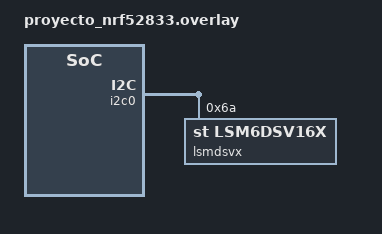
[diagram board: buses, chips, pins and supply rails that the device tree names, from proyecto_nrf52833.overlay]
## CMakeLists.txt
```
# SPDX-License-Identifier: Apache-2.0

cmake_minimum_required(VERSION 3.20.0)

find_package(Zephyr REQUIRED HINTS $ENV{ZEPHYR_BASE})
project(Pruebas_agosto)

target_sources(app PRIVATE src/main.c)
```

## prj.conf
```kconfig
CONFIG_GPIO=y
CONFIG_I2C=y
CONFIG_I2C_NRFX=y
CONFIG_SENSOR=y
#CONFIG_FLASH=y
#CONFIG_FLASH_PAGE_LAYOUT=y
CONFIG_LSM6DSV16X=y
CONFIG_CBPRINTF_FP_SUPPORT=y
#DT_HAS_ST_LSM6DSV16X_ENABLED=y
```

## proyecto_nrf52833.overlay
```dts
// To get started, press Ctrl+Space to bring up the completion menu and view the available nodes.

// You can also use the buttons in the sidebar to perform actions on nodes.
// Actions currently available include:

// * Enabling / disabling the node
// * Adding the bus to a bus
// * Removing the node
// * Connecting ADC channels

// For more help, browse the DeviceTree documentation at https://docs.zephyrproject.org/latest/guides/dts/index.html
// You can also visit the nRF DeviceTree extension documentation at https://docs.nordicsemi.com/bundle/nrf-connect-vscode/page/guides/ncs_configure_app.html#devicetree-support-in-the-extension

// Consultar: https://docs.zephyrproject.org/latest/build/dts/api/bindings/sensor/st%2Clsm6dsv16x-i2c.html
&i2c0 {
    status = "okay";
    lsmdsvx: lsmdsvx@6A {  // 6A, D4, D5, D7, 0F, 70, 15, 35, 6B, 1A
        compatible = "st,lsm6dsv16x";
        reg = <0x6A>; 
        label = "lsmdsvx";
        // Propiedades para el sensor
        //irq-gpios = <&gpio0 2 GPIO_ACTIVE_HIGH>; // pin GPIO usado para las interrupciones DRDY
        //drdy-pin = <1>; // pin INT1 para la señal DRDY
        //accel-range = <1>; //  rango del acelerómetro UTIL
        //accel-odr = <0x01>; // frecuencia de muestreo del acelerómetro UTIL
        //gyro-range = <1>; // rango del giroscopio UTIL
        //gyro-odr = <0x02>; // frecuencia de muestreo del giroscopio UTIL
        //drdy-pulsed; // modo de pulso para la señal DRDY
    };
    /*sensor: sensor@4a{
        compatible = "i2c-device";
        status = "okay";
        reg = < 0x4a >;
    };*/
};
```

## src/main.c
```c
// LSM6DSV16X date lecture code


#include <zephyr/types.h>
#include <zephyr/kernel.h>
#include <zephyr/drivers/i2c.h>
#include <zephyr/sys/printk.h>
#include <zephyr/device.h>
#include <stdlib.h>
#include <zephyr/devicetree.h>
#include <zephyr/drivers/sensor.h>
#include <zephyr/drivers/gpio.h>

// NO DRIVER VERSION

// I2C Device Address 8 bit format  if SA0=0 -> D5 if SA0=1 -> D7 
#define LSM6DSV16X_I2C_ADD_L    0xD5U
#define LSM6DSV16X_I2C_ADD_H    0xD7U
#define LSM6DSV16X_I2C_ADDR 	0x6A
#define LSM6DSV16X_ID           0x70U // who am i

// LOW ADDRESSES Gyros and Accel
#define OUTX_L_G 				0x22 
#define OUTY_L_G 				0x24
#define OUTZ_L_G 				0x26
#define OUTX_L_A 				0x28
#define OUTY_L_A 				0x2A
#define OUTZ_L_A 				0x2C

#define CTRL_ACC				0x10
#define CTRL_GYR				0x11

#define CONF_CTRL_ACC			0x72
#define CONF_CTRL_GYR			0x52


// Operation

#define I2C_NODE DT_NODELABEL(i2c0)
static const struct device *i2c_dev = DEVICE_DT_GET(I2C_NODE);


static uint8_t i2c_buffer[2];  
static uint8_t i2c_write_buffer[4]; // writting buffer 
static uint8_t i2c_read_buffer[2];  // lectures buffer 
static uint8_t i2c_read_buffer2[2]; 
static uint8_t i2c_read_buffer3[2]; 

int main(void) 
{
	int err;

	if (!i2c_dev) {
        printk("I2C: Device not found.\n");
        return;
    }

	//gpio_pin_set_dt(&enable_i2c, 1); // alto
	int i = 0;
	while (true)
	{
		i2c_buffer[0] = 0x0F;
		 
		
			// READ DEVICE ID
		i2c_buffer[0] = 0x0F;
		err = i2c_read(i2c_dev, i2c_buffer, 2, 0x6A); 
		if (err < 0){printk(" Sin enlace ");break;} 

			// ACC CONFIG
		i2c_write_buffer[0] = CTRL_ACC;
		i2c_write_buffer[1] = CONF_CTRL_ACC;
        err = i2c_write(i2c_dev, i2c_write_buffer, 2, 0x0F); 
        if (err < 0) {printk("CON ENLACE !! \n");return;}
		else {printk("Acc config success \n");}

			// GYR CONFIG
		i2c_write_buffer[0] = CTRL_GYR;
		i2c_write_buffer[1] = CONF_CTRL_GYR;
        err = i2c_write(i2c_dev, i2c_write_buffer, 2, 0x6B);
        if (err < 0) {printk("Error gyr config \n");return;}
		else {printk("Config success \n");}

			// ACC READING
		i2c_write_buffer[0] = OUTX_L_A;
        err = i2c_write_read(i2c_dev, LSM6DSV16X_I2C_ADDR,i2c_write_buffer, 1, i2c_read_buffer, 2);
            
		i2c_write_buffer[0] = OUTY_L_A;
        err = i2c_write_read(i2c_dev, LSM6DSV16X_I2C_ADDR,i2c_write_buffer, 1, i2c_read_buffer2, 2);

		i2c_write_buffer[0] = OUTZ_L_A;
        err = i2c_write_read(i2c_dev, LSM6DSV16X_I2C_ADDR,i2c_write_buffer, 1, i2c_read_buffer3, 2);
        if (err < 0) {printk("Accel reading error \n");return;}
		else {0;}

		printk("\n Accel raw (hex):   0x%02X; 0x%02X; 0x%02X <-----\n", i2c_read_buffer3[0], i2c_read_buffer2[0], i2c_read_buffer[0]);

		float accel_x = sensor_value_to_double(i2c_read_buffer[0]);
		float accel_y = sensor_value_to_double(i2c_read_buffer2[0]);
		float accel_z = sensor_value_to_double(i2c_read_buffer3[0]);

			// GYRO READING
		i2c_write_buffer[0] = OUTX_L_G;
        err = i2c_write_read(i2c_dev, LSM6DSV16X_I2C_ADDR,i2c_write_buffer, 1, i2c_read_buffer, 2);
            
		i2c_write_buffer[0] = OUTY_L_G;
        err = i2c_write_read(i2c_dev, LSM6DSV16X_I2C_ADDR,i2c_write_buffer, 1, i2c_read_buffer2, 2);

		i2c_write_buffer[0] = OUTZ_L_G;
        err = i2c_write_read(i2c_dev, LSM6DSV16X_I2C_ADDR,i2c_write_buffer, 1, i2c_read_buffer3, 2);
        if (err < 0) {printk("Accel reading error \n");return;}
		else {0;}

		printk("\n Gyro raw (hex):   0x%02X; 0x%02X; 0x%02X <-----\n", i2c_read_buffer3[0], i2c_read_buffer2[0], i2c_read_buffer[0]);

		float gyro_x = sensor_value_to_double(i2c_read_buffer[0]);
		float gyro_y = sensor_value_to_double(i2c_read_buffer2[0]);
		float gyro_z = sensor_value_to_double(i2c_read_buffer3[0]);
			
		printk("i: %d Accel x: %.3f   Accel y: %.5f   Accel z: %.4f\n     DEGps x: %.3f   DEGps y: %.5f   DEGps z: %.4f\n\n",i,  accel_x,accel_y,accel_z, gyro_x,gyro_y,gyro_z);
		i++;
			
		k_msleep(3000);
	}
}
```
